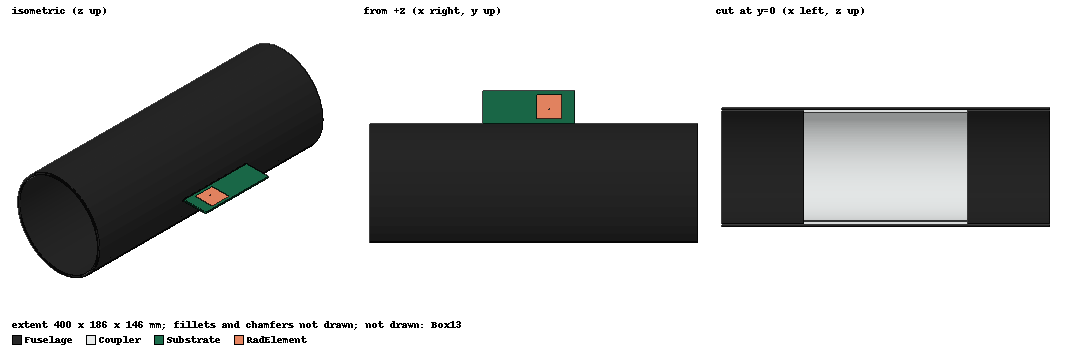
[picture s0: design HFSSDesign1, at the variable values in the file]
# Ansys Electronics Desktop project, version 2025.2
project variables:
  $Radius = 73mm
  $Length = 30mm  # optimise 20mm..60mm
  $Width = 30mm  # optimise 20mm..60mm
  $ChamferSize = 5mm
  $PortOffset = 3mm
  $AntennaOffset = 5mm
  $FeedWidth = 3mm
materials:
  vacuum: permittivity=1
  copper: permeability=0.999991 conductivity=58000000
  air: permittivity=1.0006 permeability=1.0000004
  graphite: conductivity=70000
  FR4_epoxy: permittivity=4.4 dielectric_loss_tangent=0.02
  cast_iron: permeability=60 conductivity=1500000
  CF - Carbon fiber: conductivity=252.337
  aluminum: permeability=1.000021 conductivity=38000000

design HFSSDesign1 (HFSS, HFSS Terminal Network, model units mm)
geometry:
  Substrate [FR4_epoxy] = box(corner=(50mm, $Radius, 0.8mm), size=((-4.5*25) mm, 40mm, -1.6mm))
  Fuselage [CF - Carbon fiber] = cylinder(axis=X, base_centre=(-200mm, 0mm, 0mm), radius=73mm, height=400mm, segments=32)
  Cylinder3 = cylinder(axis=X, base_centre=(200mm, 0mm, 0mm), radius=70mm, height=-400mm)
  Fuselage.subtract(Cylinder3)
  Box13 [air] = box(corner=(-250mm, 200mm, 100mm), size=(500mm, -400mm, -200mm))
  Coupler [aluminum] = cylinder(axis=X, base_centre=(-100mm, 0mm, 0mm), radius=70mm, height=200mm, segments=32)
  Cylinder5 = cylinder(axis=X, base_centre=(100mm, 0mm, 0mm), radius=66.5mm, height=-200mm)
  Coupler.subtract(Cylinder5)
  Substrate.chamfer(Edges=Substrate.edge(at (-62.5, 113, 0)) LeftDistance=40mm RightDistance="(2.25*25) mm" ChamferType="Left Distance-Right Distance" ChamferAdditionalGeometryInfo{ChamferEdgeGeometryInfo{ChamferEdgeID=1342 ChamferEdgeSense ChamferEdgeStart{X=-62.5mm Y=113mm Z=0.8mm} ChamferEdgeEnd{X=-62.5mm Y=113mm Z=-0.8mm} ChamferEdgeMid{X=-62.5mm Y=113mm Z=0mm} ChamferEdgeMidTangent(0, 0, -1)}})
  Substrate.chamfer(Edges=Substrate.edge(at (50, 113, 0)) LeftDistance=6.25mm RightDistance=40mm ChamferType="Left Distance-Right Distance" ChamferAdditionalGeometryInfo{ChamferEdgeGeometryInfo{ChamferEdgeID=1343 ChamferEdgeSense ChamferEdgeStart{X=50mm Y=113mm Z=0.8mm} ChamferEdgeEnd{X=50mm Y=113mm Z=-0.8mm} ChamferEdgeMid{X=50mm Y=113mm Z=0mm} ChamferEdgeMidTangent(0, 0, -1)}})
  GroundPlane [copper] = box(corner=(50mm, $Radius, -0.8mm), size=((-4.5*25) mm, 40mm, -0.035mm))
  GroundPlane.chamfer(Edges=GroundPlane.edge(at (-62.5, 113, -0.8175)) LeftDistance=40mm RightDistance="(2.25*25) mm" ChamferType="Left Distance-Right Distance" ChamferAdditionalGeometryInfo{ChamferEdgeGeometryInfo{ChamferEdgeID=2238 ChamferEdgeSense ChamferEdgeStart{X=-62.5mm Y=113mm Z=-0.8mm} ChamferEdgeEnd{X=-62.5mm Y=113mm Z=-0.835mm} ChamferEdgeMid{X=-62.5mm Y=113mm Z=-0.8175mm} ChamferEdgeMidTangent(0, 0, -1)}})
  GroundPlane.chamfer(Edges=GroundPlane.edge(at (50, 113, -0.8175)) LeftDistance=6.25mm RightDistance=40mm ChamferType="Left Distance-Right Distance" ChamferAdditionalGeometryInfo{ChamferEdgeGeometryInfo{ChamferEdgeID=2239 ChamferEdgeSense ChamferEdgeStart{X=50mm Y=113mm Z=-0.8mm} ChamferEdgeEnd{X=50mm Y=113mm Z=-0.835mm} ChamferEdgeMid{X=50mm Y=113mm Z=-0.8175mm} ChamferEdgeMidTangent(0, 0, -1)}})
  coordinate_system RelativeCS1 = origin=(18.75mm, $Radius, 0.8mm) x=(1mm, 0mm, 0mm) y=(0mm, 1mm, 0mm)
  RadElement [copper] = box(corner=(-$Width/2, $AntennaOffset, 0mm), size=($Width, $Length, 0.035mm)) in RelativeCS1
  RadElement.chamfer(Edges=RadElement.edge(at (33.75, 108, 0.8175)) LeftDistance=$ChamferSize RightDistance=$ChamferSize ChamferType=Symmetric ChamferAdditionalGeometryInfo{ChamferEdgeGeometryInfo{ChamferEdgeID=2327 ChamferEdgeSense ChamferEdgeStart{X=33.75mm Y=108mm Z=0.8mm} ChamferEdgeEnd{X=33.75mm Y=108mm Z=0.835mm} ChamferEdgeMid{X=33.75mm Y=108mm Z=0.8175mm} ChamferEdgeMidTangent(0, 0, 1)}})
  RadElement.chamfer(Edges=RadElement.edge(at (3.75, 78, 0.8175)) LeftDistance=$ChamferSize RightDistance=$ChamferSize ChamferType=Symmetric ChamferAdditionalGeometryInfo{ChamferEdgeGeometryInfo{ChamferEdgeID=2324 ChamferEdgeSense ChamferEdgeStart{X=3.75mm Y=78mm Z=0.8mm} ChamferEdgeEnd{X=3.75mm Y=78mm Z=0.835mm} ChamferEdgeMid{X=3.75mm Y=78mm Z=0.8175mm} ChamferEdgeMidTangent(0, 0, 1)}})
  FeedVia = cylinder(axis=Z, base_centre=(0, ($AntennaOffset+$Length/2)-$PortOffset, -1.635mm), radius=0.5mm, height=1.67mm) in RelativeCS1
  Cylinder7 = cylinder(axis=Z, base_centre=(0, ($AntennaOffset+$Length/2)-$PortOffset, -1.635mm), radius=0.5mm-0.035mm, height=1.67mm) in RelativeCS1
  Cylinder7_1 = Cylinder7.copy()
  FeedVia.subtract(Cylinder7_1)
  ViaHole [non-model] = Cylinder7.copy()
  Cylinder7_3 = Cylinder7.copy()
  Cylinder7.delete()
  RadElement.subtract(Cylinder7_3)
  Feedline [copper] = box(corner=(-$FeedWidth/2, 0mm, -1.635mm), size=($FeedWidth, -$PortOffset+$AntennaOffset+$Length/2+1mm, 0.035mm)) in RelativeCS1
  FeedClearance = box(corner=(-($FeedWidth+2mm)/2, 0mm, -1.635mm), size=($FeedWidth+2mm, -$PortOffset+$AntennaOffset+$Length/2+2mm, 0.035mm)) in RelativeCS1
  GroundPlane.subtract(FeedClearance)
  FeedVia_1 = FeedVia.copy()
  ViaHole_1 = ViaHole.copy()
  Substrate.subtract(FeedVia_1, ViaHole_1)
  ViaHole_2 = ViaHole.copy()
  Feedline.subtract(ViaHole_2)
  ViaFenceTool [non-model] = cylinder(axis=Z, base_centre=(-3.5mm, 1mm, -1.635mm), radius=0.5mm-0.035mm, height=0.035mm) in RelativeCS1
  ViaFenceTool.duplicate_along_line(step=(0mm, 4mm, 0mm), total=6, attached) in RelativeCS1
  ViaFenceTool.duplicate_along_line(step=(7mm, 0mm, 0mm), total=2, attached) in RelativeCS1
  Cylinder8 = cylinder(axis=Z, base_centre=(0, ($AntennaOffset+$Length/2+3mm)-$PortOffset, -1.635mm), radius=0.5mm-0.035mm, height=0.035mm) in RelativeCS1
  ViaFenceTool.unite(Cylinder8)
  ViaFenceTool_1 = ViaFenceTool.copy()
  GroundPlane.subtract(ViaFenceTool_1)
  Rectangle1 = rectangle(corner=(-1.5mm, 0mm, -1.635mm), z_size=0.035mm, x_size=8mm) in RelativeCS1
  Feedline.unite(FeedVia)
  Feedline_1 = Feedline.copy()
  RadElement.subtract(Feedline_1)
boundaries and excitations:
  Rad1: Radiation Objects=Box13
  Feedline_T1: Terminal port=1 Faces=Feedline.face(at (18.75, 73, -0.8175)) TerminalResistance=50ohm
  1: Lumped Port Faces=Rectangle1.face LumpedPortType=Terminal Impedance=50ohm
  reference conductors: GroundPlane
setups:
  Setup1: HfssDriven Frequency=1.575MHz MaxDeltaS=0.02 MaximumPasses=10 MinimumPasses=1 MinimumConvergedPasses=1 PercentRefinement=30 BasisOrder=1 PortAccuracy=2 DrivenSolverType="Direct Solver" InfiniteSphereSetup=69
    sweep Sweep: 1000MHz to 2000MHz, 120 points; disabled Type=Discrete SaveFields SaveRadFields
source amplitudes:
  1:1: 1V 0deg
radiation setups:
  Infinite Sphere1: Infinite Sphere Theta=0deg..180deg step 2deg Phi=-180deg..180deg step 2deg
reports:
  Gain Plot1: dB(GainTotal) vs Phi, Theta on Setup1 : LastAdaptive, Infinite Sphere1 [Freq=0.001575GHz]
